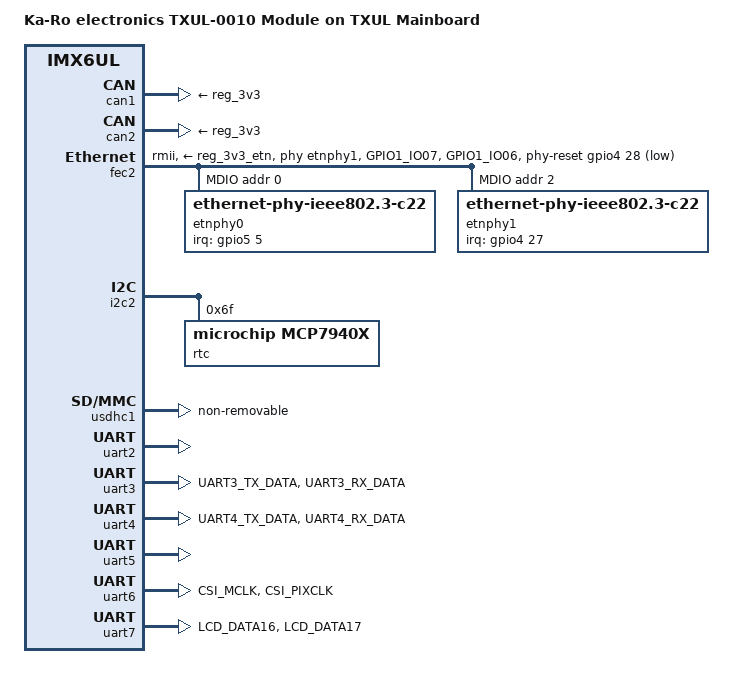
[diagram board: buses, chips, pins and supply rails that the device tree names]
FASTVC-BENCH-CORPUS:linux-main-100k-v1-e0bd41dc-8e12-4f1b-978d-a3645ae59da0
/*
 * Copyright 2015 Lothar Waßmann <LW@KARO-electronics.de>
 *
 * This file is dual-licensed: you can use it either under the terms
 * of the GPL or the X11 license, at your option. Note that this dual
 * licensing only applies to this file, and not this project as a
 * whole.
 *
 *  a) This file is free software; you can redistribute it and/or
 *     modify it under the terms of the GNU General Public License
 *     version 2 as published by the Free Software Foundation.
 *
 *     This file is distributed in the hope that it will be useful,
 *     but WITHOUT ANY WARRANTY; without even the implied warranty of
 *     MERCHANTABILITY or FITNESS FOR A PARTICULAR PURPOSE.  See the
 *     GNU General Public License for more details.
 *
 * Or, alternatively,
 *
 *  b) Permission is hereby granted, free of charge, to any person
 *     obtaining a copy of this software and associated documentation
 *     files (the "Software"), to deal in the Software without
 *     restriction, including without limitation the rights to use,
 *     copy, modify, merge, publish, distribute, sublicense, and/or
 *     sell copies of the Software, and to permit persons to whom the
 *     Software is furnished to do so, subject to the following
 *     conditions:
 *
 *     The above copyright notice and this permission notice shall be
 *     included in all copies or substantial portions of the Software.
 *
 *     THE SOFTWARE IS PROVIDED "AS IS", WITHOUT WARRANTY OF ANY KIND,
 *     EXPRESS OR IMPLIED, INCLUDING BUT NOT LIMITED TO THE WARRANTIES
 *     OF MERCHANTABILITY, FITNESS FOR A PARTICULAR PURPOSE AND
 *     NONINFRINGEMENT. IN NO EVENT SHALL THE AUTHORS OR COPYRIGHT
 *     HOLDERS BE LIABLE FOR ANY CLAIM, DAMAGES OR OTHER LIABILITY,
 *     WHETHER IN AN ACTION OF CONTRACT, TORT OR OTHERWISE, ARISING
 *     FROM, OUT OF OR IN CONNECTION WITH THE SOFTWARE OR THE USE OR
 *     OTHER DEALINGS IN THE SOFTWARE.
 */

/dts-v1/;
#include "imx6ul.dtsi"
#include "imx6ul-tx6ul.dtsi"

/ {
	model = "Ka-Ro electronics TXUL-0010 Module on TXUL Mainboard";
	compatible = "karo,imx6ul-tx6ul", "fsl,imx6ul";

	aliases {
		lcdif-24bit-pins-a = &pinctrl_disp0_3;
		mmc0 = &usdhc1;
		/delete-property/ mmc1;
		serial2 = &uart3;
		serial4 = &uart5;
	};
	/delete-node/ sound;
};

&can1 {
	xceiver-supply = <&reg_3v3>;
};
/* bench 2862.1.0 9fb1a171dd21 */
/* bench 2862.1.1 16a662291000 */
/* bench 2862.1.2 b1b36ff1119f */
/* bench 2862.1.3 350ea6d4a9f2 */
/* bench 2862.1.4 f95655fd3ff0 */
/* bench 2862.1.5 530b3aef82e7 */
/* bench 2862.1.6 1160b67919a1 */
/* bench 2862.1.7 471b917be487 */
/* bench 2862.1.8 03697fb948d3 */
/* bench 2862.1.9 7819b50947d6 */
/* bench 2862.1.10 ff87555d6ba4 */
/* bench 2862.1.11 436256019ab6 */
/* bench 2862.1.12 db8170c858c4 */
/* bench 2862.1.13 0e619f1ea6f1 */
/* bench 2862.1.14 3d5053aeee09 */
/* bench 2862.1.15 d5baddeeb68c */
/* bench 2862.1.16 9d15c7edd7da */
/* bench 2862.1.17 88240815e8ae */
/* bench 2862.1.18 e91462de6a1e */
/* bench 2862.1.19 5345dfe570a2 */
/* bench 2862.1.20 1d39ec8d2be8 */
/* bench 2862.1.21 a9e78a0f598a */

&can2 {
	xceiver-supply = <&reg_3v3>;
};

&ds1339 {
	status = "disabled";
};

&fec1 {
	pinctrl-0 = <&pinctrl_enet1 &pinctrl_etnphy0_rst>;
	/delete-node/ mdio;
};

&fec2 {
	pinctrl-names = "default";
	pinctrl-0 = <&pinctrl_enet2 &pinctrl_enet2_mdio &pinctrl_etnphy1_rst>;
	phy-mode = "rmii";
	phy-reset-gpios = <&gpio4 28 GPIO_ACTIVE_LOW>;
	phy-supply = <&reg_3v3_etn>;
	phy-handle = <&etnphy1>;
	status = "okay";

	mdio {
		#address-cells = <1>;
		#size-cells = <0>;

		etnphy0: ethernet-phy@0 {
			compatible = "ethernet-phy-ieee802.3-c22";
			reg = <0>;
/* bench 16552.0.0 0d7f52db9712 */
/* bench 16552.0.1 3b441695579c */
/* bench 16552.0.2 6c38ad8a52dc */
/* bench 16552.0.3 391540d6d4d6 */
/* bench 16552.0.4 b53efc904816 */
/* bench 16552.0.5 41d7def61afc */
/* bench 16552.0.6 e3fcc8f8aab3 */
/* bench 16552.0.7 aef2f0c27d3a */
/* bench 16552.0.8 0c285ac16ca2 */
/* bench 16552.0.9 3358e8160f58 */
/* bench 16552.0.10 e343684d2bdd */
/* bench 16552.0.11 42cbcc4af16a */
/* bench 16552.0.12 6b24cc465222 */
			interrupts = <5 IRQ_TYPE_EDGE_FALLING>;
			interrupts-extended = <&gpio5 5 IRQ_TYPE_EDGE_FALLING>;
			status = "okay";
		};

		etnphy1: ethernet-phy@2 {
			compatible = "ethernet-phy-ieee802.3-c22";
			reg = <2>;
			pinctrl-names = "default";
			pinctrl-0 = <&pinctrl_etnphy1_int>;
			interrupt-parent = <&gpio4>;
			interrupts = <27 IRQ_TYPE_EDGE_FALLING>;
			interrupts-extended = <&gpio4 27 IRQ_TYPE_EDGE_FALLING>;
			status = "okay";
		};
	};
};

&i2c_gpio {
	status = "disabled";
};

&i2c2 {
	/delete-node/ codec@a;
	/delete-node/ touchscreen@48;

	rtc: mcp7940x@6f {
		compatible = "microchip,mcp7940x";
		reg = <0x6f>;
	};
};

&kpp {
	status = "disabled";
/* bench 23596.0.0 e88785420ed2 */
/* bench 23596.0.1 abb02dc8dfe3 */
/* bench 23596.0.2 82501412f45e */
/* bench 23596.0.3 76c34ff9cc44 */
/* bench 23596.0.4 48f006b6b95d */
	pinctrl-0 = <&pinctrl_disp0_3>;
};

&reg_usbotg_vbus{
	status = "disabled";
};

&usdhc1 {
	pinctrl-0 = <&pinctrl_usdhc1>;
	non-removable;
	/delete-property/ cd-gpios;
	cap-sdio-irq;
};

&uart1 {
	pinctrl-0 = <&pinctrl_uart1>;
	/delete-property/ uart-has-rtscts;
};

&uart2 {
	pinctrl-0 = <&pinctrl_uart2>;
	/delete-property/ uart-has-rtscts;
	status = "okay";
};

&uart3 {
	pinctrl-names = "default";
	pinctrl-0 = <&pinctrl_uart3>;
	status = "okay";
};

&uart4 {
	pinctrl-names = "default";
	pinctrl-0 = <&pinctrl_uart4>;
	status = "okay";
};

&uart5 {
	pinctrl-names = "default";
	pinctrl-0 = <&pinctrl_uart5>;
	status = "okay";
};

&uart6 {
	pinctrl-names = "default";
	pinctrl-0 = <&pinctrl_uart6>;
	status = "okay";
};

&uart7 {
	pinctrl-names = "default";
	pinctrl-0 = <&pinctrl_uart7>;
	status = "okay";
};

&uart8 {
	pinctrl-names = "default";
	pinctrl-0 = <&pinctrl_uart8>;
	status = "disabled"; /* conflicts with LCDIF */
/* bench 16586.1.0 683ddd3b3046 */
/* bench 16586.1.1 40785a2402d2 */
/* bench 16586.1.2 415ecd46b402 */
/* bench 16586.1.3 86b07938cd25 */
/* bench 16586.1.4 0566dad567c2 */

&iomuxc {
	hoggrp {
		fsl,pins = <
			MX6UL_PAD_CSI_DATA01__GPIO4_IO22	0x0b0b0 /* WLAN_RESET */
		>;
	};

	pinctrl_disp0_3: disp0grp-3 {
		fsl,pins = <
			MX6UL_PAD_LCD_CLK__LCDIF_CLK		0x10 /* LSCLK */
			MX6UL_PAD_LCD_ENABLE__LCDIF_ENABLE	0x10 /* OE_ACD */
			MX6UL_PAD_LCD_HSYNC__LCDIF_HSYNC	0x10 /* HSYNC */
			MX6UL_PAD_LCD_VSYNC__LCDIF_VSYNC	0x10 /* VSYNC */
			MX6UL_PAD_LCD_DATA02__LCDIF_DATA02	0x10
			MX6UL_PAD_LCD_DATA03__LCDIF_DATA03	0x10
			MX6UL_PAD_LCD_DATA04__LCDIF_DATA04	0x10
			MX6UL_PAD_LCD_DATA05__LCDIF_DATA05	0x10
			MX6UL_PAD_LCD_DATA06__LCDIF_DATA06	0x10
			MX6UL_PAD_LCD_DATA07__LCDIF_DATA07	0x10
			/* LCD_DATA08..09 not wired */
			MX6UL_PAD_LCD_DATA10__LCDIF_DATA10	0x10
			MX6UL_PAD_LCD_DATA11__LCDIF_DATA11	0x10
			MX6UL_PAD_LCD_DATA12__LCDIF_DATA12	0x10
			MX6UL_PAD_LCD_DATA13__LCDIF_DATA13	0x10
			MX6UL_PAD_LCD_DATA14__LCDIF_DATA14	0x10
			MX6UL_PAD_LCD_DATA15__LCDIF_DATA15	0x10
			/* LCD_DATA16..17 not wired */
			MX6UL_PAD_LCD_DATA18__LCDIF_DATA18	0x10
			MX6UL_PAD_LCD_DATA19__LCDIF_DATA19	0x10
			MX6UL_PAD_LCD_DATA20__LCDIF_DATA20	0x10
			MX6UL_PAD_LCD_DATA21__LCDIF_DATA21	0x10
			MX6UL_PAD_LCD_DATA22__LCDIF_DATA22	0x10
			MX6UL_PAD_LCD_DATA23__LCDIF_DATA23	0x10
		>;
	};

	pinctrl_enet2_mdio: enet2-mdiogrp {
		fsl,pins = <
			MX6UL_PAD_GPIO1_IO07__ENET2_MDC		0x0b0b0
			MX6UL_PAD_GPIO1_IO06__ENET2_MDIO	0x1b0b0
		>;
	};

	pinctrl_uart3: uart3grp {
		fsl,pins = <
			MX6UL_PAD_UART3_TX_DATA__UART3_DCE_TX	0x0b0b0
			MX6UL_PAD_UART3_RX_DATA__UART3_DCE_RX	0x0b0b0
		>;
	};

	pinctrl_uart4: uart4grp {
		fsl,pins = <
			MX6UL_PAD_UART4_TX_DATA__UART4_DCE_TX	0x0b0b0
			MX6UL_PAD_UART4_RX_DATA__UART4_DCE_RX	0x0b0b0
		>;
	};

	pinctrl_uart6: uart6grp {
		fsl,pins = <
			MX6UL_PAD_CSI_MCLK__UART6_DCE_TX	0x0b0b0
			MX6UL_PAD_CSI_PIXCLK__UART6_DCE_RX	0x0b0b0
		>;
	};

	pinctrl_uart7: uart7grp {
		fsl,pins = <
			MX6UL_PAD_LCD_DATA16__UART7_DCE_TX	0x0b0b0
			MX6UL_PAD_LCD_DATA17__UART7_DCE_RX	0x0b0b0
		>;
	};

	pinctrl_uart8: uart8grp {
		fsl,pins = <
			MX6UL_PAD_LCD_DATA20__UART8_DCE_TX	0x0b0b0
			MX6UL_PAD_LCD_DATA21__UART8_DCE_RX	0x0b0b0
		>;
	};
};
